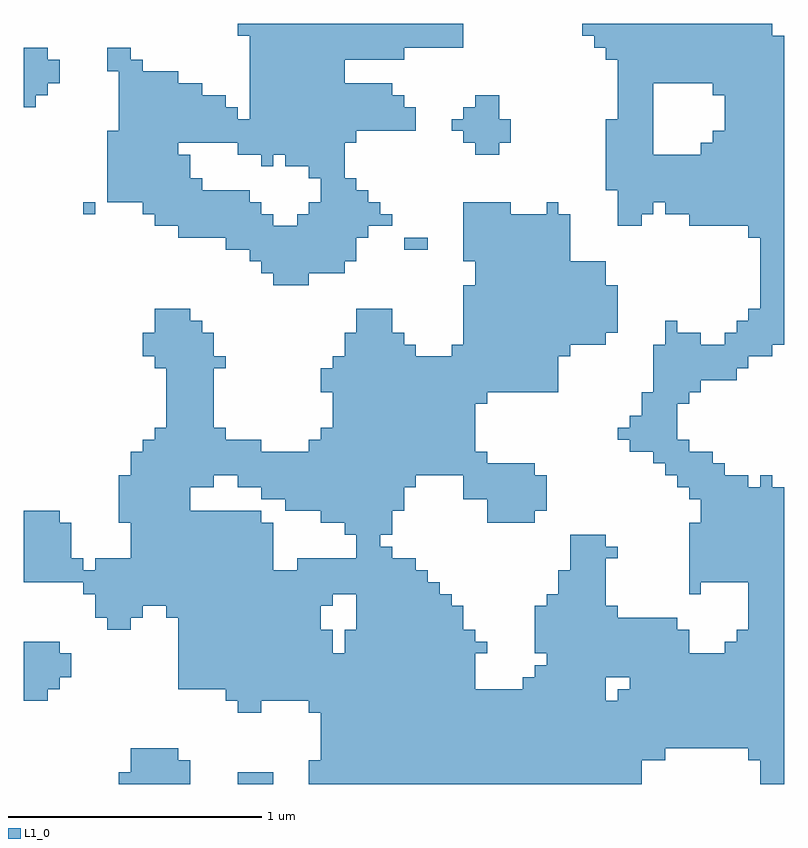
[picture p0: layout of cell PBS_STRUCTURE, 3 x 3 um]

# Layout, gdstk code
import gdstk
lib = gdstk.Library(unit=1e-6, precision=1e-09)
def R(c, l, rs):  # rectangles x0, y0, x1, y1
    for r in rs: c.add(gdstk.rectangle(r[:2], r[2:], *l))
def P(c, l, *ps):  # polygons
    for p in ps: c.add(gdstk.Polygon(p, *l))
L1_0 = (1, 0)

pbs_structure = lib.new_cell('PBS_STRUCTURE')
R(pbs_structure, L1_0, [(-0.656,-1.5,-0.516,-1.453), (0,0.609,0.094,0.656), (-1.266,0.75,-1.219,0.797)])
P(pbs_structure, L1_0, [(-1.453,1.172),(-1.453,1.219),(-1.406,1.219),(-1.406,1.266),(-1.359,1.266),(-1.359,1.359),(-1.406,1.359),(-1.406,1.406),(-1.5,1.406),(-1.5,1.172)],
  [(0.188,1.078),(0.234,1.078),(0.234,1.031),(0.281,1.031),(0.281,0.984),(0.375,0.984),(0.375,1.031),(0.422,1.031),(0.422,1.125),(0.375,1.125),(0.375,1.219),(0.281,1.219),(0.281,1.172),(0.234,1.172),(0.234,1.125),(0.188,1.125)],
  [(0.234,-0.375),(0.328,-0.375),(0.328,-0.469),(0.516,-0.469),(0.516,-0.422),(0.563,-0.422),(0.563,-0.281),(0.234,-0.281)],
  [(-0.656,-0.328),(-0.563,-0.328),(-0.563,-0.375),(-0.469,-0.375),(-0.469,-0.422),(-0.328,-0.422),(-0.328,-0.469),(-0.234,-0.469),(-0.234,-0.516),(-0.188,-0.516),(-0.188,-0.609),(-0.422,-0.609),(-0.422,-0.656),(-0.516,-0.656),(-0.516,-0.469),(-0.563,-0.469),(-0.563,-0.422),(-0.844,-0.422),(-0.844,-0.328),(-0.75,-0.328),(-0.75,-0.281),(-1.125,-0.281),(-1.125,-0.469),(-1.078,-0.469),(-1.078,-0.609),(-1.219,-0.609),(-1.219,-0.656),(-1.266,-0.656),(-1.266,-0.609),(-1.313,-0.609),(-1.313,-0.469),(-1.359,-0.469),(-1.359,-0.422),(-1.5,-0.422),(-1.5,-0.703),(-1.266,-0.703),(-1.266,-0.75),(-1.219,-0.75),(-1.219,-0.844),(-1.172,-0.844),(-1.172,-0.891),(-1.078,-0.891),(-1.078,-0.844),(-1.031,-0.844),(-1.031,-0.797),(-0.938,-0.797),(-0.938,-0.844),(-0.891,-0.844),(-0.891,-0.891),(-0.328,-0.891),(-0.328,-0.797),(-0.281,-0.797),(-0.281,-0.75),(-0.188,-0.75),(-0.188,-0.891),(-0.234,-0.891),(-0.234,-0.984),(-0.281,-0.984),(-0.281,-0.891),(-0.328,-0.891),(-0.891,-0.891),(-0.891,-1.125),(-0.703,-1.125),(-0.703,-1.172),(-0.656,-1.172),(-0.656,-1.219),(-0.563,-1.219),(-0.563,-1.172),(0.797,-1.172),(0.797,-1.078),(0.891,-1.078),(0.891,-1.125),(0.844,-1.125),(0.844,-1.172),(0.797,-1.172),(-0.563,-1.172),(-0.375,-1.172),(-0.375,-1.219),(-0.328,-1.219),(-0.328,-1.406),(-0.375,-1.406),(-0.375,-1.5),(0.938,-1.5),(0.938,-1.406),(1.031,-1.406),(1.031,-1.359),(1.359,-1.359),(1.359,-1.406),(1.406,-1.406),(1.406,-1.5),(1.5,-1.5),(1.5,-0.328),(1.453,-0.328),(1.453,-0.281),(1.406,-0.281),(1.406,-0.328),(1.359,-0.328),(1.359,-0.281),(1.078,-0.281),(1.078,-0.328),(1.125,-0.328),(1.125,-0.375),(1.172,-0.375),(1.172,-0.469),(1.125,-0.469),(1.125,-0.75),(1.172,-0.75),(1.172,-0.703),(1.359,-0.703),(1.359,-0.891),(1.313,-0.891),(1.313,-0.938),(1.266,-0.938),(1.266,-0.984),(1.125,-0.984),(1.125,-0.891),(1.078,-0.891),(1.078,-0.844),(0.844,-0.844),(0.844,-0.797),(0.797,-0.797),(0.797,-0.609),(0.844,-0.609),(0.844,-0.563),(0.797,-0.563),(0.797,-0.516),(0.656,-0.516),(0.656,-0.656),(0.609,-0.656),(0.609,-0.75),(0.563,-0.75),(0.563,-0.797),(0.516,-0.797),(0.516,-0.984),(0.563,-0.984),(0.563,-1.031),(0.516,-1.031),(0.516,-1.078),(0.469,-1.078),(0.469,-1.125),(0.281,-1.125),(0.281,-0.984),(0.328,-0.984),(0.328,-0.938),(0.281,-0.938),(0.281,-0.891),(0.234,-0.891),(0.234,-0.797),(0.188,-0.797),(0.188,-0.75),(0.141,-0.75),(0.141,-0.703),(0.094,-0.703),(0.094,-0.656),(0.047,-0.656),(0.047,-0.609),(-0.047,-0.609),(-0.047,-0.563),(-0.094,-0.563),(-0.094,-0.516),(-0.047,-0.516),(-0.047,-0.422),(0,-0.422),(0,-0.328),(0.047,-0.328),(0.047,-0.281),(-0.656,-0.281)],
  [(0.844,0.844),(0.844,0.703),(0.938,0.703),(0.938,0.75),(0.984,0.75),(0.984,0.797),(1.031,0.797),(1.031,0.75),(1.125,0.75),(1.125,0.703),(1.359,0.703),(1.359,0.656),(1.406,0.656),(1.406,0.375),(1.359,0.375),(1.359,0.328),(1.313,0.328),(1.313,0.281),(1.266,0.281),(1.266,0.234),(1.172,0.234),(1.172,0.281),(1.078,0.281),(1.078,0.328),(1.031,0.328),(1.031,0.234),(0.984,0.234),(0.984,0.047),(0.938,0.047),(0.938,-0.047),(0.891,-0.047),(0.891,-0.094),(0.844,-0.094),(0.844,-0.141),(0.891,-0.141),(0.891,-0.188),(0.984,-0.188),(0.984,-0.234),(1.031,-0.234),(1.031,-0.281),(1.266,-0.281),(1.266,-0.234),(1.219,-0.234),(1.219,-0.188),(1.125,-0.188),(1.125,-0.141),(1.078,-0.141),(1.078,0),(1.125,0),(1.125,0.047),(1.172,0.047),(1.172,0.094),(1.313,0.094),(1.313,0.141),(1.359,0.141),(1.359,0.188),(1.453,0.188),(1.453,0.234),(1.5,0.234),(1.5,1.453),(1.453,1.453),(1.453,1.5),(0.703,1.5),(0.703,1.453),(0.75,1.453),(0.75,1.406),(0.797,1.406),(0.797,1.359),(0.844,1.359),(0.844,1.125),(0.797,1.125),(0.797,0.984),(0.984,0.984),(0.984,1.266),(1.219,1.266),(1.219,1.219),(1.266,1.219),(1.266,1.078),(1.219,1.078),(1.219,1.031),(1.172,1.031),(1.172,0.984),(0.984,0.984),(0.797,0.984),(0.797,0.844)],
  [(0.516,-0.234),(0.328,-0.234),(0.328,-0.188),(0.281,-0.188),(0.281,0),(0.328,0),(0.328,0.047),(0.609,0.047),(0.609,0.188),(0.656,0.188),(0.656,0.234),(0.797,0.234),(0.797,0.281),(0.844,0.281),(0.844,0.469),(0.797,0.469),(0.797,0.563),(0.656,0.563),(0.656,0.75),(0.609,0.75),(0.609,0.797),(0.563,0.797),(0.563,0.75),(0.422,0.75),(0.422,0.797),(0.234,0.797),(0.234,0.563),(0.281,0.563),(0.281,0.469),(0.234,0.469),(0.234,0.234),(0.188,0.234),(0.188,0.188),(0.047,0.188),(0.047,0.234),(0,0.234),(0,0.281),(-0.047,0.281),(-0.047,0.375),(-0.188,0.375),(-0.188,0.281),(-0.234,0.281),(-0.234,0.188),(-0.281,0.188),(-0.281,0.141),(-0.328,0.141),(-0.328,0.047),(-0.281,0.047),(-0.281,-0.094),(-0.328,-0.094),(-0.328,-0.141),(-0.375,-0.141),(-0.375,-0.188),(-0.563,-0.188),(-0.563,-0.141),(-0.703,-0.141),(-0.703,-0.094),(-0.75,-0.094),(-0.75,0.141),(-0.703,0.141),(-0.703,0.188),(-0.75,0.188),(-0.75,0.281),(-0.797,0.281),(-0.797,0.328),(-0.844,0.328),(-0.844,0.375),(-0.984,0.375),(-0.984,0.281),(-1.031,0.281),(-1.031,0.188),(-0.984,0.188),(-0.984,0.141),(-0.938,0.141),(-0.938,-0.094),(-0.984,-0.094),(-0.984,-0.141),(-1.031,-0.141),(-1.031,-0.188),(-1.078,-0.188),(-1.078,-0.281),(0.516,-0.281)],
  [(-1.406,-1.172),(-1.406,-1.125),(-1.359,-1.125),(-1.359,-1.078),(-1.313,-1.078),(-1.313,-0.984),(-1.359,-0.984),(-1.359,-0.938),(-1.5,-0.938),(-1.5,-1.172)],
  [(-1.125,-1.5),(-0.844,-1.5),(-0.844,-1.406),(-0.891,-1.406),(-0.891,-1.359),(-1.078,-1.359),(-1.078,-1.453),(-1.125,-1.453)],
  [(-0.703,0.609),(-0.609,0.609),(-0.609,0.563),(-0.563,0.563),(-0.563,0.516),(-0.516,0.516),(-0.516,0.469),(-0.375,0.469),(-0.375,0.516),(-0.234,0.516),(-0.234,0.563),(-0.188,0.563),(-0.188,0.656),(-0.141,0.656),(-0.141,0.703),(-0.047,0.703),(-0.047,0.75),(-0.094,0.75),(-0.094,0.797),(-0.141,0.797),(-0.141,0.844),(-0.188,0.844),(-0.188,0.891),(-0.234,0.891),(-0.234,1.031),(-0.188,1.031),(-0.188,1.078),(0.047,1.078),(0.047,1.172),(0,1.172),(0,1.219),(-0.047,1.219),(-0.047,1.266),(-0.234,1.266),(-0.234,1.359),(0,1.359),(0,1.406),(0.234,1.406),(0.234,1.5),(-0.656,1.5),(-0.656,1.453),(-0.609,1.453),(-0.609,1.125),(-0.656,1.125),(-0.656,1.172),(-0.703,1.172),(-0.703,1.219),(-0.797,1.219),(-0.797,1.266),(-0.891,1.266),(-0.891,1.313),(-1.031,1.313),(-1.031,1.359),(-1.078,1.359),(-1.078,1.406),(-1.172,1.406),(-1.172,1.313),(-1.125,1.313),(-1.125,1.078),(-1.172,1.078),(-1.172,0.984),(-0.891,0.984),(-0.891,1.031),(-0.656,1.031),(-0.656,0.984),(-0.563,0.984),(-0.563,0.938),(-0.516,0.938),(-0.516,0.984),(-0.469,0.984),(-0.469,0.938),(-0.375,0.938),(-0.375,0.891),(-0.328,0.891),(-0.328,0.797),(-0.375,0.797),(-0.375,0.75),(-0.422,0.75),(-0.422,0.703),(-0.516,0.703),(-0.516,0.75),(-0.563,0.75),(-0.563,0.797),(-0.609,0.797),(-0.609,0.844),(-0.797,0.844),(-0.797,0.891),(-0.844,0.891),(-0.844,0.984),(-0.891,0.984),(-1.172,0.984),(-1.172,0.797),(-1.031,0.797),(-1.031,0.75),(-0.984,0.75),(-0.984,0.703),(-0.891,0.703),(-0.891,0.656),(-0.703,0.656)])

lib.write_gds('PBS_STRUCTURE.gds')
